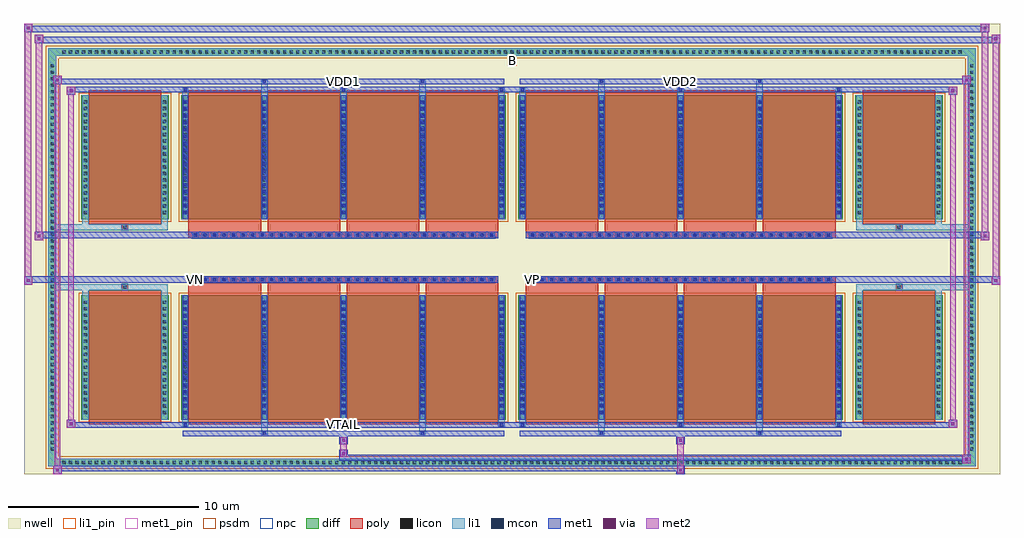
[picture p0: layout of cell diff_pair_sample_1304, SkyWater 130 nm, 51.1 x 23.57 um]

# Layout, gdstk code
import gdstk
lib = gdstk.Library(unit=1e-6, precision=5e-09)
def R(c, l, rs):  # rectangles x0, y0, x1, y1
    for r in rs: c.add(gdstk.rectangle(r[:2], r[2:], *l))
def A(c, l, x, y, w, h, nx, ny, dx, dy):  # array of equal rectangles
    R(c, l, [(x+i*dx, y+j*dy, x+i*dx+w, y+j*dy+h) for i in range(nx) for j in range(ny)])
def P(c, l, *ps):  # polygons
    for p in ps: c.add(gdstk.Polygon(p, *l))
nwell = (64, 20)
diff = (65, 20)
poly = (66, 20)
licon = (66, 44)
li1_pin = (67, 16)
li1 = (67, 20)
mcon = (67, 44)
met1_pin = (68, 16)
met1 = (68, 20)
via = (68, 44)
met2 = (69, 20)
psdm = (94, 20)
npc = (95, 20)

diff_pair_sample_1304 = lib.new_cell('diff_pair_sample_1304')
R(diff_pair_sample_1304, nwell, [(-25.55,-11.35,25.55,12.22), (-22.87,-9.54,-0.01,-0.8), (0.01,-9.54,22.87,-0.8), (-22.87,0.8,-0.01,9.54), (0.01,0.8,22.87,9.54)])
A(diff_pair_sample_1304, diff, -23.665, -10.95, 0.41, 0.41, 139, 2, 0.34, 21.49)
A(diff_pair_sample_1304, diff, -24.28, -10.235, 0.41, 0.41, 1, 60, 0, 0.34)
A(diff_pair_sample_1304, diff, 23.87, -10.235, 0.41, 0.41, 1, 60, 0, 0.34)
R(diff_pair_sample_1304, diff, [(-23.665,-10.95,23.665,-10.54), (-24.28,-10.235,-23.87,10.235), (23.87,-10.235,24.28,10.235), (-22.56,-8.495,-17.97,-1.985), (-17.33,-8.495,-0.32,-1.985), (0.32,-8.495,17.33,-1.985), (17.97,-8.495,22.56,-1.985), (-22.56,1.985,-17.97,8.495), (-17.33,1.985,-0.32,8.495), (0.32,1.985,17.33,8.495), (17.97,1.985,22.56,8.495), (-23.665,10.54,23.665,10.95)])
P(diff_pair_sample_1304, diff, [(24.28,10.95),(-24.28,10.95),(-24.28,-10.54),(-23.87,-10.54),(-23.87,10.54),(23.87,10.54),(23.87,-10.54),(-23.87,-10.54),(-24.28,-10.54),(-24.28,-10.95),(24.28,-10.95)])
A(diff_pair_sample_1304, poly, -16.94, -8.745, 3.81, 7.01, 4, 2, 4.14, 10.48)
A(diff_pair_sample_1304, poly, 0.71, -8.745, 3.81, 7.01, 4, 2, 4.14, 10.48)
A(diff_pair_sample_1304, poly, -16.94, -1.735, 3.81, 0.405, 4, 2, 4.14, 3.065)
A(diff_pair_sample_1304, poly, 0.71, -1.735, 3.81, 0.405, 4, 2, 4.14, 3.065)
A(diff_pair_sample_1304, poly, -16.74, -1.33, 0.33, 0.33, 32, 2, 0.5, 2.33)
A(diff_pair_sample_1304, poly, 0.91, -1.33, 0.33, 0.33, 32, 2, 0.5, 2.33)
R(diff_pair_sample_1304, poly, [(-22.17,-8.745,-18.36,-1.735), (18.36,-8.745,22.17,-1.735), (-20.43,-1.735,-20.1,-1.405), (-20.43,-1.735,-20.1,-1.405), (20.1,-1.735,20.43,-1.405), (20.1,-1.735,20.43,-1.405), (-16.94,-1.33,-0.71,-1), (0.71,-1.33,16.94,-1), (-16.94,1,-0.71,1.33), (0.71,1,16.94,1.33), (-20.43,1.405,-20.1,1.735), (-20.43,1.405,-20.1,1.735), (20.1,1.405,20.43,1.735), (20.1,1.405,20.43,1.735), (-22.17,1.735,-18.36,8.745), (18.36,1.735,22.17,8.745)])
A(diff_pair_sample_1304, licon, -23.545, -10.83, 0.17, 0.17, 139, 2, 0.34, 21.49)
A(diff_pair_sample_1304, licon, -24.16, -10.115, 0.17, 0.17, 1, 60, 0, 0.34)
A(diff_pair_sample_1304, licon, 23.99, -10.115, 0.17, 0.17, 1, 60, 0, 0.34)
A(diff_pair_sample_1304, licon, -22.42, -8.215, 0.17, 0.17, 1, 18, 0, 0.34)
A(diff_pair_sample_1304, licon, -18.28, -8.215, 0.17, 0.17, 1, 18, 0, 0.34)
A(diff_pair_sample_1304, licon, -17.19, -8.215, 0.17, 0.17, 5, 18, 4.14, 0.34)
A(diff_pair_sample_1304, licon, 0.46, -8.215, 0.17, 0.17, 5, 18, 4.14, 0.34)
A(diff_pair_sample_1304, licon, 18.11, -8.215, 0.17, 0.17, 1, 18, 0, 0.34)
A(diff_pair_sample_1304, licon, 22.25, -8.215, 0.17, 0.17, 1, 18, 0, 0.34)
A(diff_pair_sample_1304, licon, -16.66, -1.25, 0.17, 0.17, 32, 2, 0.5, 2.33)
A(diff_pair_sample_1304, licon, 0.99, -1.25, 0.17, 0.17, 32, 2, 0.5, 2.33)
A(diff_pair_sample_1304, licon, -22.42, 2.265, 0.17, 0.17, 1, 18, 0, 0.34)
A(diff_pair_sample_1304, licon, -18.28, 2.265, 0.17, 0.17, 1, 18, 0, 0.34)
A(diff_pair_sample_1304, licon, -17.19, 2.265, 0.17, 0.17, 5, 18, 4.14, 0.34)
A(diff_pair_sample_1304, licon, 0.46, 2.265, 0.17, 0.17, 5, 18, 4.14, 0.34)
A(diff_pair_sample_1304, licon, 18.11, 2.265, 0.17, 0.17, 1, 18, 0, 0.34)
A(diff_pair_sample_1304, licon, 22.25, 2.265, 0.17, 0.17, 1, 18, 0, 0.34)
R(diff_pair_sample_1304, licon, [(-20.35,-1.655,-20.18,-1.485), (20.18,-1.655,20.35,-1.485), (-20.35,1.485,-20.18,1.655), (20.18,1.485,20.35,1.655)])
R(diff_pair_sample_1304, li1_pin, [(-0.25,10.04,0.25,10.54)])
A(diff_pair_sample_1304, li1, -23.625, -10.91, 0.33, 0.33, 139, 2, 0.34, 21.49)
A(diff_pair_sample_1304, li1, -24.24, -10.195, 0.33, 0.33, 1, 60, 0, 0.34)
A(diff_pair_sample_1304, li1, 23.91, -10.195, 0.33, 0.33, 1, 60, 0, 0.34)
A(diff_pair_sample_1304, li1, -17.27, -8.87, 0.33, 0.375, 3, 2, 8.28, 17.365)
A(diff_pair_sample_1304, li1, -17.19, -8.87, 0.17, 0.17, 3, 2, 8.28, 17.57)
A(diff_pair_sample_1304, li1, 0.38, -8.87, 0.33, 0.375, 3, 2, 8.28, 17.365)
A(diff_pair_sample_1304, li1, 0.46, -8.87, 0.17, 0.17, 3, 2, 8.28, 17.57)
A(diff_pair_sample_1304, li1, -17.27, -8.495, 0.33, 6.51, 5, 2, 4.14, 10.48)
A(diff_pair_sample_1304, li1, 0.38, -8.495, 0.33, 6.51, 5, 2, 4.14, 10.48)
A(diff_pair_sample_1304, li1, -22.5, -8.295, 0.33, 0.33, 1, 18, 0, 0.34)
A(diff_pair_sample_1304, li1, -18.36, -8.295, 0.33, 0.33, 1, 18, 0, 0.34)
A(diff_pair_sample_1304, li1, -17.27, -8.295, 0.33, 0.33, 5, 18, 4.14, 0.34)
A(diff_pair_sample_1304, li1, 0.38, -8.295, 0.33, 0.33, 5, 18, 4.14, 0.34)
A(diff_pair_sample_1304, li1, 18.03, -8.295, 0.33, 0.33, 1, 18, 0, 0.34)
A(diff_pair_sample_1304, li1, 22.17, -8.295, 0.33, 0.33, 1, 18, 0, 0.34)
A(diff_pair_sample_1304, li1, -17.19, -8.205, 0.17, 0.17, 5, 17, 4.14, 0.36)
A(diff_pair_sample_1304, li1, -17.19, -8.205, 0.17, 5.93, 5, 2, 4.14, 10.48)
A(diff_pair_sample_1304, li1, 0.46, -8.205, 0.17, 0.17, 5, 17, 4.14, 0.36)
A(diff_pair_sample_1304, li1, 0.46, -8.205, 0.17, 5.93, 5, 2, 4.14, 10.48)
A(diff_pair_sample_1304, li1, -16.74, -1.33, 0.33, 0.33, 32, 2, 0.5, 2.33)
A(diff_pair_sample_1304, li1, 0.91, -1.33, 0.33, 0.33, 32, 2, 0.5, 2.33)
A(diff_pair_sample_1304, li1, -22.5, 2.185, 0.33, 0.33, 1, 18, 0, 0.34)
A(diff_pair_sample_1304, li1, -18.36, 2.185, 0.33, 0.33, 1, 18, 0, 0.34)
A(diff_pair_sample_1304, li1, -17.27, 2.185, 0.33, 0.33, 5, 18, 4.14, 0.34)
A(diff_pair_sample_1304, li1, 0.38, 2.185, 0.33, 0.33, 5, 18, 4.14, 0.34)
A(diff_pair_sample_1304, li1, 18.03, 2.185, 0.33, 0.33, 1, 18, 0, 0.34)
A(diff_pair_sample_1304, li1, 22.17, 2.185, 0.33, 0.33, 1, 18, 0, 0.34)
A(diff_pair_sample_1304, li1, -17.19, 2.275, 0.17, 0.17, 5, 17, 4.14, 0.36)
A(diff_pair_sample_1304, li1, 0.46, 2.275, 0.17, 0.17, 5, 17, 4.14, 0.36)
R(diff_pair_sample_1304, li1, [(-24.28,-10.95,-23.87,-10.54), (-24.28,-10.95,-23.87,-10.54), (-23.87,-10.95,23.87,-10.54), (23.87,-10.95,24.28,-10.54), (23.87,-10.95,24.28,-10.54), (-24.28,-10.54,-23.87,10.54), (23.87,-10.54,24.28,10.54), (-13.13,-9.3,-12.8,-8.495), (-13.05,-9.3,-12.88,-9.13), (-4.85,-9.3,-4.52,-8.495), (-4.77,-9.3,-4.6,-9.13), (4.52,-9.3,4.85,-8.495), (4.6,-9.3,4.77,-9.13), (12.8,-9.3,13.13,-8.495), (12.88,-9.3,13.05,-9.13), (-22.5,-8.495,-22.17,-1.985), (-18.36,-8.495,-18.03,-1.985), (18.03,-8.495,18.36,-1.985), (22.17,-8.495,22.5,-1.985), (-22.5,-1.985,-22.17,-1.405), (-18.36,-1.985,-18.03,-1.405), (18.03,-1.985,18.36,-1.405), (22.17,-1.985,22.5,-1.405), (-24.28,-1.735,-20.43,-1.405), (-22.5,-1.735,-20.43,-1.405), (-20.43,-1.735,-20.1,-1.405), (-20.1,-1.735,-18.03,-1.405), (18.03,-1.735,20.1,-1.405), (20.1,-1.735,20.43,-1.405), (20.1,-1.735,24.28,-1.405), (20.43,-1.735,22.5,-1.405), (-24.28,1.405,-20.43,1.735), (-22.5,1.405,-20.43,1.735), (-22.5,1.405,-22.17,1.985), (-20.43,1.405,-20.1,1.735), (-20.1,1.405,-18.03,1.735), (-18.36,1.405,-18.03,1.985), (18.03,1.405,20.1,1.735), (18.03,1.405,18.36,1.985), (20.1,1.405,20.43,1.735), (20.1,1.405,24.28,1.735), (20.43,1.405,22.5,1.735), (22.17,1.405,22.5,1.985), (-22.5,1.985,-22.17,8.495), (-18.36,1.985,-18.03,8.495), (18.03,1.985,18.36,8.495), (22.17,1.985,22.5,8.495), (-13.13,8.495,-12.8,9.3), (-4.85,8.495,-4.52,9.3), (4.52,8.495,4.85,9.3), (12.8,8.495,13.13,9.3), (-13.05,9.13,-12.88,9.3), (-4.77,9.13,-4.6,9.3), (4.6,9.13,4.77,9.3), (12.88,9.13,13.05,9.3), (-24.28,10.54,-23.87,10.95), (-24.28,10.54,-23.87,10.95), (-23.87,10.54,23.87,10.95), (23.87,10.54,24.28,10.95), (23.87,10.54,24.28,10.95)])
A(diff_pair_sample_1304, mcon, -17.19, -8.87, 0.17, 0.17, 3, 2, 8.28, 17.57)
A(diff_pair_sample_1304, mcon, 0.46, -8.87, 0.17, 0.17, 3, 2, 8.28, 17.57)
A(diff_pair_sample_1304, mcon, -17.19, -8.205, 0.17, 0.17, 5, 17, 4.14, 0.36)
A(diff_pair_sample_1304, mcon, 0.46, -8.205, 0.17, 0.17, 5, 17, 4.14, 0.36)
A(diff_pair_sample_1304, mcon, -16.66, -1.25, 0.17, 0.17, 32, 2, 0.5, 2.33)
A(diff_pair_sample_1304, mcon, 0.99, -1.25, 0.17, 0.17, 32, 2, 0.5, 2.33)
A(diff_pair_sample_1304, mcon, -17.19, 2.275, 0.17, 0.17, 5, 17, 4.14, 0.36)
A(diff_pair_sample_1304, mcon, 0.46, 2.275, 0.17, 0.17, 5, 17, 4.14, 0.36)
R(diff_pair_sample_1304, mcon, [(-13.05,-9.3,-12.88,-9.13), (-4.77,-9.3,-4.6,-9.13), (4.6,-9.3,4.77,-9.13), (12.88,-9.3,13.05,-9.13), (-13.05,9.13,-12.88,9.3), (-4.77,9.13,-4.6,9.3), (4.6,9.13,4.77,9.3), (12.88,9.13,13.05,9.3)])
R(diff_pair_sample_1304, met1_pin, [(-8.96,-8.91,-8.69,-8.64), (-16.71,-1.29,-16.44,-1.02), (0.94,-1.29,1.21,-1.02), (-8.96,9.09,-8.69,9.36), (8.69,9.09,8.96,9.36)])
A(diff_pair_sample_1304, met1, -17.25, -8.93, 0.29, 0.29, 3, 2, 8.28, 17.57)
A(diff_pair_sample_1304, met1, 0.4, -8.93, 0.29, 0.29, 3, 2, 8.28, 17.57)
A(diff_pair_sample_1304, met1, -17.25, -8.495, 0.29, 6.51, 5, 2, 4.14, 10.48)
A(diff_pair_sample_1304, met1, 0.4, -8.495, 0.29, 6.51, 5, 2, 4.14, 10.48)
A(diff_pair_sample_1304, met1, -17.25, -8.265, 0.29, 0.29, 5, 17, 4.14, 0.36)
A(diff_pair_sample_1304, met1, 0.4, -8.265, 0.29, 0.29, 5, 17, 4.14, 0.36)
A(diff_pair_sample_1304, met1, -16.72, -1.31, 0.29, 0.29, 32, 2, 0.5, 2.33)
A(diff_pair_sample_1304, met1, 0.93, -1.31, 0.29, 0.29, 32, 2, 0.5, 2.33)
A(diff_pair_sample_1304, met1, -17.25, 2.215, 0.29, 0.29, 5, 17, 4.14, 0.36)
A(diff_pair_sample_1304, met1, 0.4, 2.215, 0.29, 0.29, 5, 17, 4.14, 0.36)
R(diff_pair_sample_1304, met1, [(-24.01,-11.35,-23.58,-10.92), (8.61,-11.35,9.04,-10.92), (-24.01,-11.21,9.04,-10.92), (23.58,-10.78,24.01,-10.35), (-9.04,-10.64,24.01,-10.35), (-9.04,-10.5,-8.61,-10.07), (-9.04,-9.79,-8.61,-9.36), (8.61,-9.79,9.04,-9.36), (-17.25,-9.36,-0.4,-9.07), (-13.11,-9.36,-12.82,-9.07), (-4.83,-9.36,-4.54,-9.07), (0.4,-9.36,17.25,-9.07), (4.54,-9.36,4.83,-9.07), (12.82,-9.36,13.11,-9.07), (-23.3,-8.93,-22.87,-8.5), (-23.3,-8.93,-17.25,-8.64), (-17.25,-8.93,-0.4,-8.64), (-0.4,-8.93,0.4,-8.64), (0.4,-8.93,17.25,-8.64), (17.25,-8.93,23.3,-8.64), (22.87,-8.93,23.3,-8.5), (-25.55,-1.43,-25.12,-1), (25.12,-1.43,25.55,-1), (-25.55,-1.33,-0.71,-1), (-16.94,-1.33,-0.71,-1), (0.71,-1.33,16.94,-1), (0.71,-1.33,25.55,-1), (-24.98,0.9,-24.55,1.33), (24.55,0.9,24.98,1.33), (-24.98,1,-16.94,1.33), (-16.94,1,-0.71,1.33), (0.71,1,16.94,1.33), (16.94,1,24.98,1.33), (-23.3,8.5,-22.87,8.93), (22.87,8.5,23.3,8.93), (-23.3,8.64,-17.25,8.93), (-17.25,8.64,-0.4,8.93), (-0.4,8.64,0.4,8.93), (0.4,8.64,17.25,8.93), (17.25,8.64,23.3,8.93), (-24.01,9.07,-23.58,9.5), (-24.01,9.07,-17.25,9.36), (-17.25,9.07,-0.4,9.36), (-13.11,9.07,-12.82,9.36), (-4.83,9.07,-4.54,9.36), (0.4,9.07,17.25,9.36), (4.54,9.07,4.83,9.36), (12.82,9.07,13.11,9.36), (17.25,9.07,24.01,9.36), (23.58,9.07,24.01,9.5), (-24.98,11.22,-24.55,11.65), (-24.98,11.22,-22.87,11.55), (-22.87,11.22,22.87,11.55), (22.87,11.22,25.55,11.55), (25.12,11.22,25.55,11.65), (-25.55,11.79,-25.12,12.22), (-25.55,11.79,-22.87,12.12), (-22.87,11.79,22.87,12.12), (22.87,11.79,24.98,12.12), (24.55,11.79,24.98,12.22)])
R(diff_pair_sample_1304, via, [(-23.87,-11.21,-23.72,-11.06), (8.75,-11.21,8.9,-11.06), (23.72,-10.64,23.87,-10.49), (-8.9,-10.36,-8.75,-10.21), (-8.9,-9.65,-8.75,-9.5), (8.75,-9.65,8.9,-9.5), (-23.16,-8.79,-23.01,-8.64), (23.01,-8.79,23.16,-8.64), (-25.41,-1.29,-25.26,-1.14), (25.26,-1.29,25.41,-1.14), (-24.84,1.04,-24.69,1.19), (24.69,1.04,24.84,1.19), (-23.16,8.64,-23.01,8.79), (23.01,8.64,23.16,8.79), (-23.87,9.21,-23.72,9.36), (23.72,9.21,23.87,9.36), (-24.84,11.36,-24.69,11.51), (25.26,11.36,25.41,11.51), (-25.41,11.93,-25.26,12.08), (24.69,11.93,24.84,12.08)])
R(diff_pair_sample_1304, met2, [(-24.01,-11.35,-23.58,-10.92), (-23.94,-11.35,-23.65,9.5), (-23.65,-11.35,-23.58,-10.92), (-23.96,-11.3,-23.63,-10.97), (8.66,-11.3,8.99,-10.97), (8.66,-10.97,8.99,-9.74), (23.58,-10.78,24.01,-10.35), (23.65,-10.78,23.94,9.5), (23.94,-10.78,24.01,-10.35), (23.63,-10.73,23.96,-10.4), (-8.99,-10.45,-8.66,-10.12), (-8.99,-10.12,-8.66,-9.74), (-8.99,-9.74,-8.66,-9.41), (8.66,-9.74,8.99,-9.41), (-23.3,-8.93,-22.87,-8.5), (-23.23,-8.93,-22.94,8.93), (-22.94,-8.93,-22.87,-8.5), (22.87,-8.93,23.3,-8.5), (22.94,-8.93,23.23,8.93), (23.23,-8.93,23.3,-8.5), (-23.25,-8.88,-22.92,-8.55), (22.92,-8.88,23.25,-8.55), (-25.55,-1.43,-25.12,-1), (-25.5,-1.43,-25.17,12.22), (-25.17,-1.43,-25.12,-1), (25.12,-1.43,25.55,-1), (25.17,-1.43,25.5,11.65), (25.5,-1.43,25.55,-1), (-25.5,-1.38,-25.17,-1.05), (25.17,-1.38,25.5,-1.05), (-24.98,0.9,-24.55,1.33), (-24.93,0.9,-24.6,11.65), (-24.6,0.9,-24.55,1.33), (24.55,0.9,24.98,1.33), (24.6,0.9,24.93,12.22), (24.93,0.9,24.98,1.33), (-24.93,0.95,-24.6,1.28), (24.6,0.95,24.93,1.28), (-23.3,8.5,-22.87,8.93), (-22.94,8.5,-22.87,8.93), (22.87,8.5,23.3,8.93), (23.23,8.5,23.3,8.93), (-23.25,8.55,-22.92,8.88), (22.92,8.55,23.25,8.88), (-24.01,9.07,-23.58,9.5), (-23.65,9.07,-23.58,9.5), (23.58,9.07,24.01,9.5), (23.94,9.07,24.01,9.5), (-23.96,9.12,-23.63,9.45), (23.63,9.12,23.96,9.45), (-24.98,11.22,-24.55,11.65), (-24.6,11.22,-24.55,11.65), (25.12,11.22,25.55,11.65), (25.5,11.22,25.55,11.65), (-24.93,11.27,-24.6,11.6), (25.17,11.27,25.5,11.6), (-25.55,11.79,-25.12,12.22), (-25.17,11.79,-25.12,12.22), (24.55,11.79,24.98,12.22), (24.93,11.79,24.98,12.22), (-25.5,11.84,-25.17,12.17), (24.6,11.84,24.93,12.17)])
R(diff_pair_sample_1304, psdm, [(-22.69,-8.625,-17.84,-1.855), (-17.46,-8.625,-0.19,-1.855), (0.19,-8.625,17.46,-1.855), (17.84,-8.625,22.69,-1.855), (-22.69,1.855,-17.84,8.625), (-17.46,1.855,-0.19,8.625), (0.19,1.855,17.46,8.625), (17.84,1.855,22.69,8.625)])
P(diff_pair_sample_1304, psdm, [(24.41,11.08),(-24.41,11.08),(-24.41,-10.41),(-23.74,-10.41),(-23.74,10.41),(23.74,10.41),(23.74,-10.41),(-23.74,-10.41),(-24.41,-10.41),(-24.41,-11.08),(24.41,-11.08)])
A(diff_pair_sample_1304, npc, -16.76, -1.35, 0.37, 0.37, 32, 2, 0.5, 2.33)
A(diff_pair_sample_1304, npc, 0.89, -1.35, 0.37, 0.37, 32, 2, 0.5, 2.33)
R(diff_pair_sample_1304, npc, [(-20.45,-1.755,-20.08,-1.385), (20.08,-1.755,20.45,-1.385), (-16.76,-1.35,-15.89,-0.98), (-16.76,-1.35,-15.89,-0.98), (-16.26,-1.35,-15.39,-0.98), (-16.26,-1.35,-15.39,-0.98), (-15.76,-1.35,-14.89,-0.98), (-15.76,-1.35,-14.89,-0.98), (-15.26,-1.35,-14.39,-0.98), (-15.26,-1.35,-14.39,-0.98), (-14.76,-1.35,-13.89,-0.98), (-14.76,-1.35,-13.89,-0.98), (-14.26,-1.35,-13.39,-0.98), (-14.26,-1.35,-13.39,-0.98), (-13.76,-1.35,-12.89,-0.98), (-13.76,-1.35,-12.89,-0.98), (-13.26,-1.35,-12.39,-0.98), (-13.26,-1.35,-12.39,-0.98), (-12.76,-1.35,-11.89,-0.98), (-12.76,-1.35,-11.89,-0.98), (-12.26,-1.35,-11.39,-0.98), (-12.26,-1.35,-11.39,-0.98), (-11.76,-1.35,-10.89,-0.98), (-11.76,-1.35,-10.89,-0.98), (-11.26,-1.35,-10.39,-0.98), (-11.26,-1.35,-10.39,-0.98), (-10.76,-1.35,-9.89,-0.98), (-10.76,-1.35,-9.89,-0.98), (-10.26,-1.35,-9.39,-0.98), (-10.26,-1.35,-9.39,-0.98), (-9.76,-1.35,-8.89,-0.98), (-9.76,-1.35,-8.89,-0.98), (-9.26,-1.35,-8.39,-0.98), (-9.26,-1.35,-8.39,-0.98), (-8.76,-1.35,-7.89,-0.98), (-8.76,-1.35,-7.89,-0.98), (-8.26,-1.35,-7.39,-0.98), (-8.26,-1.35,-7.39,-0.98), (-7.76,-1.35,-6.89,-0.98), (-7.76,-1.35,-6.89,-0.98), (-7.26,-1.35,-6.39,-0.98), (-7.26,-1.35,-6.39,-0.98), (-6.76,-1.35,-5.89,-0.98), (-6.76,-1.35,-5.89,-0.98), (-6.26,-1.35,-5.39,-0.98), (-6.26,-1.35,-5.39,-0.98), (-5.76,-1.35,-4.89,-0.98), (-5.76,-1.35,-4.89,-0.98), (-5.26,-1.35,-4.39,-0.98), (-5.26,-1.35,-4.39,-0.98), (-4.76,-1.35,-3.89,-0.98), (-4.76,-1.35,-3.89,-0.98), (-4.26,-1.35,-3.39,-0.98), (-4.26,-1.35,-3.39,-0.98), (-3.76,-1.35,-2.89,-0.98), (-3.76,-1.35,-2.89,-0.98), (-3.26,-1.35,-2.39,-0.98), (-3.26,-1.35,-2.39,-0.98), (-2.76,-1.35,-1.89,-0.98), (-2.76,-1.35,-1.89,-0.98), (-2.26,-1.35,-1.39,-0.98), (-2.26,-1.35,-1.39,-0.98), (-1.76,-1.35,-0.89,-0.98), (-1.76,-1.35,-0.89,-0.98), (0.89,-1.35,1.76,-0.98), (0.89,-1.35,1.76,-0.98), (1.39,-1.35,2.26,-0.98), (1.39,-1.35,2.26,-0.98), (1.89,-1.35,2.76,-0.98), (1.89,-1.35,2.76,-0.98), (2.39,-1.35,3.26,-0.98), (2.39,-1.35,3.26,-0.98), (2.89,-1.35,3.76,-0.98), (2.89,-1.35,3.76,-0.98), (3.39,-1.35,4.26,-0.98), (3.39,-1.35,4.26,-0.98), (3.89,-1.35,4.76,-0.98), (3.89,-1.35,4.76,-0.98), (4.39,-1.35,5.26,-0.98), (4.39,-1.35,5.26,-0.98), (4.89,-1.35,5.76,-0.98), (4.89,-1.35,5.76,-0.98), (5.39,-1.35,6.26,-0.98), (5.39,-1.35,6.26,-0.98), (5.89,-1.35,6.76,-0.98), (5.89,-1.35,6.76,-0.98), (6.39,-1.35,7.26,-0.98), (6.39,-1.35,7.26,-0.98), (6.89,-1.35,7.76,-0.98), (6.89,-1.35,7.76,-0.98), (7.39,-1.35,8.26,-0.98), (7.39,-1.35,8.26,-0.98), (7.89,-1.35,8.76,-0.98), (7.89,-1.35,8.76,-0.98), (8.39,-1.35,9.26,-0.98), (8.39,-1.35,9.26,-0.98), (8.89,-1.35,9.76,-0.98), (8.89,-1.35,9.76,-0.98), (9.39,-1.35,10.26,-0.98), (9.39,-1.35,10.26,-0.98), (9.89,-1.35,10.76,-0.98), (9.89,-1.35,10.76,-0.98), (10.39,-1.35,11.26,-0.98), (10.39,-1.35,11.26,-0.98), (10.89,-1.35,11.76,-0.98), (10.89,-1.35,11.76,-0.98), (11.39,-1.35,12.26,-0.98), (11.39,-1.35,12.26,-0.98), (11.89,-1.35,12.76,-0.98), (11.89,-1.35,12.76,-0.98), (12.39,-1.35,13.26,-0.98), (12.39,-1.35,13.26,-0.98), (12.89,-1.35,13.76,-0.98), (12.89,-1.35,13.76,-0.98), (13.39,-1.35,14.26,-0.98), (13.39,-1.35,14.26,-0.98), (13.89,-1.35,14.76,-0.98), (13.89,-1.35,14.76,-0.98), (14.39,-1.35,15.26,-0.98), (14.39,-1.35,15.26,-0.98), (14.89,-1.35,15.76,-0.98), (14.89,-1.35,15.76,-0.98), (15.39,-1.35,16.26,-0.98), (15.39,-1.35,16.26,-0.98), (15.89,-1.35,16.76,-0.98), (15.89,-1.35,16.76,-0.98), (-16.76,0.98,-15.89,1.35), (-16.76,0.98,-15.89,1.35), (-16.26,0.98,-15.39,1.35), (-16.26,0.98,-15.39,1.35), (-15.76,0.98,-14.89,1.35), (-15.76,0.98,-14.89,1.35), (-15.26,0.98,-14.39,1.35), (-15.26,0.98,-14.39,1.35), (-14.76,0.98,-13.89,1.35), (-14.76,0.98,-13.89,1.35), (-14.26,0.98,-13.39,1.35), (-14.26,0.98,-13.39,1.35), (-13.76,0.98,-12.89,1.35), (-13.76,0.98,-12.89,1.35), (-13.26,0.98,-12.39,1.35), (-13.26,0.98,-12.39,1.35), (-12.76,0.98,-11.89,1.35), (-12.76,0.98,-11.89,1.35), (-12.26,0.98,-11.39,1.35), (-12.26,0.98,-11.39,1.35), (-11.76,0.98,-10.89,1.35), (-11.76,0.98,-10.89,1.35), (-11.26,0.98,-10.39,1.35), (-11.26,0.98,-10.39,1.35), (-10.76,0.98,-9.89,1.35), (-10.76,0.98,-9.89,1.35), (-10.26,0.98,-9.39,1.35), (-10.26,0.98,-9.39,1.35), (-9.76,0.98,-8.89,1.35), (-9.76,0.98,-8.89,1.35), (-9.26,0.98,-8.39,1.35), (-9.26,0.98,-8.39,1.35), (-8.76,0.98,-7.89,1.35), (-8.76,0.98,-7.89,1.35), (-8.26,0.98,-7.39,1.35), (-8.26,0.98,-7.39,1.35), (-7.76,0.98,-6.89,1.35), (-7.76,0.98,-6.89,1.35), (-7.26,0.98,-6.39,1.35), (-7.26,0.98,-6.39,1.35), (-6.76,0.98,-5.89,1.35), (-6.76,0.98,-5.89,1.35), (-6.26,0.98,-5.39,1.35), (-6.26,0.98,-5.39,1.35), (-5.76,0.98,-4.89,1.35), (-5.76,0.98,-4.89,1.35), (-5.26,0.98,-4.39,1.35), (-5.26,0.98,-4.39,1.35), (-4.76,0.98,-3.89,1.35), (-4.76,0.98,-3.89,1.35), (-4.26,0.98,-3.39,1.35), (-4.26,0.98,-3.39,1.35), (-3.76,0.98,-2.89,1.35), (-3.76,0.98,-2.89,1.35), (-3.26,0.98,-2.39,1.35), (-3.26,0.98,-2.39,1.35), (-2.76,0.98,-1.89,1.35), (-2.76,0.98,-1.89,1.35), (-2.26,0.98,-1.39,1.35), (-2.26,0.98,-1.39,1.35), (-1.76,0.98,-0.89,1.35), (-1.76,0.98,-0.89,1.35), (0.89,0.98,1.76,1.35), (0.89,0.98,1.76,1.35), (1.39,0.98,2.26,1.35), (1.39,0.98,2.26,1.35), (1.89,0.98,2.76,1.35), (1.89,0.98,2.76,1.35), (2.39,0.98,3.26,1.35), (2.39,0.98,3.26,1.35), (2.89,0.98,3.76,1.35), (2.89,0.98,3.76,1.35), (3.39,0.98,4.26,1.35), (3.39,0.98,4.26,1.35), (3.89,0.98,4.76,1.35), (3.89,0.98,4.76,1.35), (4.39,0.98,5.26,1.35), (4.39,0.98,5.26,1.35), (4.89,0.98,5.76,1.35), (4.89,0.98,5.76,1.35), (5.39,0.98,6.26,1.35), (5.39,0.98,6.26,1.35), (5.89,0.98,6.76,1.35), (5.89,0.98,6.76,1.35), (6.39,0.98,7.26,1.35), (6.39,0.98,7.26,1.35), (6.89,0.98,7.76,1.35), (6.89,0.98,7.76,1.35), (7.39,0.98,8.26,1.35), (7.39,0.98,8.26,1.35), (7.89,0.98,8.76,1.35), (7.89,0.98,8.76,1.35), (8.39,0.98,9.26,1.35), (8.39,0.98,9.26,1.35), (8.89,0.98,9.76,1.35), (8.89,0.98,9.76,1.35), (9.39,0.98,10.26,1.35), (9.39,0.98,10.26,1.35), (9.89,0.98,10.76,1.35), (9.89,0.98,10.76,1.35), (10.39,0.98,11.26,1.35), (10.39,0.98,11.26,1.35), (10.89,0.98,11.76,1.35), (10.89,0.98,11.76,1.35), (11.39,0.98,12.26,1.35), (11.39,0.98,12.26,1.35), (11.89,0.98,12.76,1.35), (11.89,0.98,12.76,1.35), (12.39,0.98,13.26,1.35), (12.39,0.98,13.26,1.35), (12.89,0.98,13.76,1.35), (12.89,0.98,13.76,1.35), (13.39,0.98,14.26,1.35), (13.39,0.98,14.26,1.35), (13.89,0.98,14.76,1.35), (13.89,0.98,14.76,1.35), (14.39,0.98,15.26,1.35), (14.39,0.98,15.26,1.35), (14.89,0.98,15.76,1.35), (14.89,0.98,15.76,1.35), (15.39,0.98,16.26,1.35), (15.39,0.98,16.26,1.35), (15.89,0.98,16.76,1.35), (15.89,0.98,16.76,1.35), (-20.45,1.385,-20.08,1.755), (20.08,1.385,20.45,1.755)])
diff_pair_sample_1304.add(gdstk.Label('VTAIL', (-8.825,-8.775), layer=68, texttype=5))
diff_pair_sample_1304.add(gdstk.Label('VN', (-16.575,-1.155), layer=68, texttype=5))
diff_pair_sample_1304.add(gdstk.Label('VP', (1.075,-1.155), layer=68, texttype=5))
diff_pair_sample_1304.add(gdstk.Label('B', (0,10.29), layer=67, texttype=5))
diff_pair_sample_1304.add(gdstk.Label('VDD2', (8.825,9.225), layer=68, texttype=5))
diff_pair_sample_1304.add(gdstk.Label('VDD1', (-8.825,9.225), layer=68, texttype=5))

lib.write_gds('diff_pair_sample_1304.gds')
